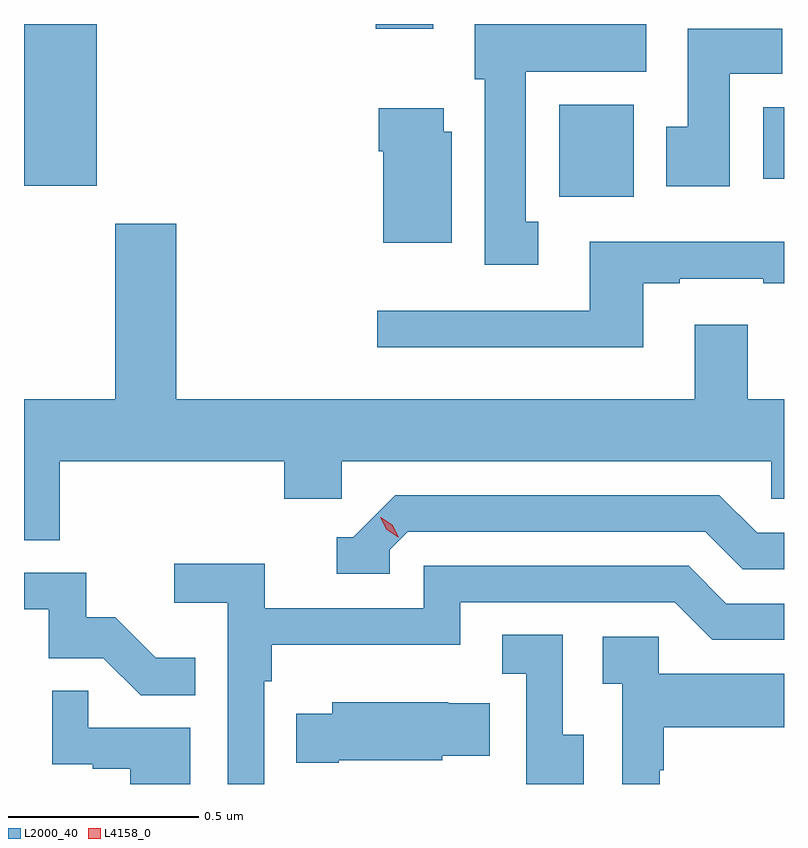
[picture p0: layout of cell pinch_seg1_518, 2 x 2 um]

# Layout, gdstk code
import gdstk
lib = gdstk.Library(unit=1e-6, precision=1e-09)
def R(c, l, rs):  # rectangles x0, y0, x1, y1
    for r in rs: c.add(gdstk.rectangle(r[:2], r[2:], *l))
def P(c, l, *ps):  # polygons
    for p in ps: c.add(gdstk.Polygon(p, *l))
L2000_40 = (2000, 40)
L4158_0 = (4158, 0)

pinch_seg1_518 = lib.new_cell('pinch_seg1_518')
R(pinch_seg1_518, L2000_40, [(1138.166,541.772,1138.363,542.014), (1136.758,541.802,1136.95,542.227), (1138.703,541.82,1138.758,542.008), (1137.683,542.214,1137.835,542.227)])
P(pinch_seg1_518, L2000_40, [(1138.111,541.706),(1138.078,541.706),(1138.078,542.102),(1138.396,542.102),(1138.396,542.227),(1137.944,542.227),(1137.944,542.082),(1137.971,542.082),(1137.971,541.593),(1138.111,541.593)],
  [(1138.615,542.096),(1138.754,542.096),(1138.754,542.215),(1138.505,542.215),(1138.505,541.956),(1138.448,541.956),(1138.448,541.8),(1138.615,541.8)],
  [(1137.883,541.944),(1137.862,541.944),(1137.862,542.005),(1137.692,542.005),(1137.692,541.892),(1137.704,541.892),(1137.704,541.652),(1137.883,541.652)],
  [(1136.852,541.076),(1137.443,541.076),(1137.443,540.978),(1137.594,540.978),(1137.594,541.076),(1138.725,541.076),(1138.725,540.978),(1138.758,540.978),(1138.758,541.24),(1138.663,541.24),(1138.663,541.435),(1138.523,541.435),(1138.523,541.24),(1137.158,541.24),(1137.158,541.702),(1136.998,541.702),(1136.998,541.24),(1136.758,541.24),(1136.758,540.868),(1136.852,540.868)],
  [(1138.387,541.545),(1138.483,541.545),(1138.483,541.557),(1138.703,541.557),(1138.703,541.545),(1138.758,541.545),(1138.758,541.654),(1138.247,541.654),(1138.247,541.473),(1137.687,541.473),(1137.687,541.376),(1138.387,541.376)],
  [(1137.72,540.843),(1137.768,540.891),(1138.551,540.891),(1138.65,540.792),(1138.758,540.792),(1138.758,540.888),(1138.687,540.888),(1138.588,540.987),(1137.735,540.987),(1137.624,540.876),(1137.581,540.876),(1137.581,540.78),(1137.72,540.78)],
  [(1137.39,540.497),(1137.41,540.497),(1137.41,540.593),(1137.906,540.593),(1137.906,540.705),(1138.47,540.705),(1138.569,540.606),(1138.758,540.606),(1138.758,540.702),(1138.606,540.702),(1138.507,540.801),(1137.81,540.801),(1137.81,540.69),(1137.392,540.69),(1137.392,540.806),(1137.153,540.806),(1137.153,540.704),(1137.294,540.704),(1137.294,540.227),(1137.39,540.227)],
  [(1137.209,540.559),(1137.105,540.559),(1136.998,540.666),(1136.922,540.666),(1136.922,540.783),(1136.758,540.783),(1136.758,540.687),(1136.823,540.687),(1136.823,540.558),(1136.967,540.558),(1137.065,540.46),(1137.209,540.46)],
  [(1138.231,540.357),(1138.176,540.357),(1138.176,540.62),(1138.017,540.62),(1138.017,540.517),(1138.08,540.517),(1138.08,540.227),(1138.231,540.227)],
  [(1138.431,540.263),(1138.441,540.263),(1138.441,540.377),(1138.758,540.377),(1138.758,540.517),(1138.428,540.517),(1138.428,540.615),(1138.281,540.615),(1138.281,540.491),(1138.332,540.491),(1138.332,540.227),(1138.431,540.227)],
  [(1137.196,540.375),(1136.927,540.375),(1136.927,540.473),(1136.832,540.473),(1136.832,540.279),(1136.939,540.279),(1136.939,540.267),(1137.038,540.267),(1137.038,540.227),(1137.196,540.227)],
  [(1137.586,540.29),(1137.858,540.29),(1137.858,540.302),(1137.983,540.302),(1137.983,540.439),(1137.875,540.439),(1137.875,540.442),(1137.569,540.442),(1137.569,540.412),(1137.475,540.412),(1137.475,540.283),(1137.586,540.283)])
P(pinch_seg1_518, L4158_0, [(1137.743,540.876),(1137.713,540.896),(1137.696,540.929),(1137.696,540.929),(1137.697,540.929),(1137.727,540.909),(1137.744,540.876),(1137.744,540.876)])

lib.write_gds('pinch_seg1_518.gds')
